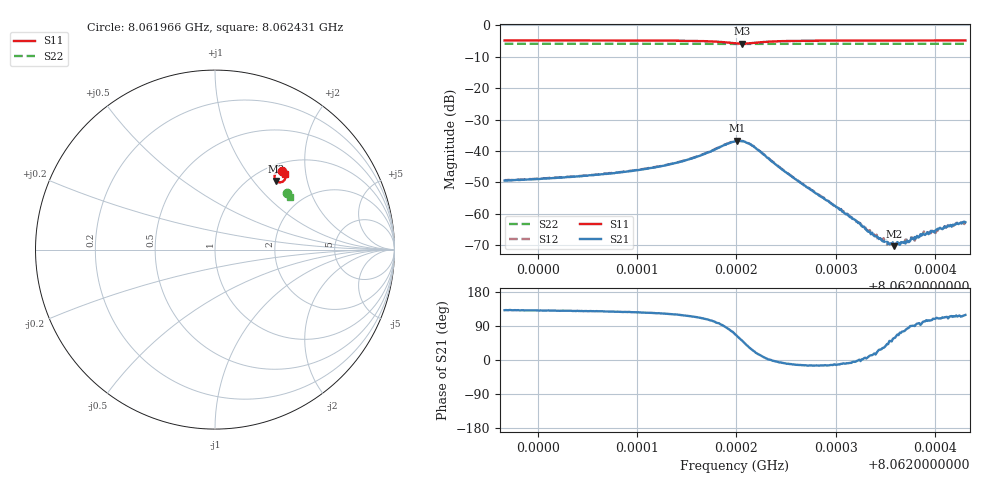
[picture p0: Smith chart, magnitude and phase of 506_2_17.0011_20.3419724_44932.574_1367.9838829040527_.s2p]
#  HZ  S  RI  R  50.00
! Rohde & Schwarz Vector Network Analyzer
! Rohde-Schwarz,ZNB20-2Port,1311601062101988,3.16
! Created: UTC 3/20/2024, 11:14:48 PM
! freq[Hz]  re:S11  im:S11  re:S21  im:S21  re:S12  im:S12  re:S22  im:S22
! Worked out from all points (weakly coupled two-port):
!   401 points, 8.061966 GHz to 8.062431 GHz, reference 50 ohm
!   highest |S21| = -36.71 dB at 8.0622008 GHz (marker M1); lowest = -70.3 dB at 8.0623589 GHz (marker M2)
!   lowest |S11| = -5.8 dB at 8.0622055 GHz (marker M3), VSWR 3.11, Z = 63.7 + j66.1 ohm
!   |S11| at or under -10 dB: nowhere
!   |S22| runs from -5.9 to -5.8 dB; largest |S21 - S12| = 0.001
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8.06196602e9  0.3745 0.4376  -0.00223 0.00254  -0.0021 0.00269  0.4024 0.3134
8.0620439e9  0.3809 0.4316  -0.00251 0.00306  -0.00233 0.00327  0.4054 0.3095
8.06208226e9  0.3843 0.4276  -0.00276 0.00363  -0.00255 0.00383  0.4068 0.3074
8.06212178e9  0.3886 0.4212  -0.00311 0.00469  -0.00285 0.00495  0.4081 0.3053
8.06215665e9  0.3923 0.4091  -0.00322 0.00705  -0.00283 0.00732  0.4094 0.3029
8.0621985e9  0.3599 0.3749  0.0053 0.0132  0.0061 0.013  0.4088 0.2998
8.06220083e9  0.3538 0.3759  0.00674 0.013  0.00733 0.0125  0.4086 0.2998
8.06220548e9  0.3425 0.3819  0.00887 0.0111  0.00964 0.0108  0.4085 0.3
8.0622171e9  0.3317 0.4089  0.0108 0.00486  0.0113 0.00416  0.4087 0.3009
8.06224965e9  0.3582 0.4354  0.00454 -0.000739  0.00455 -0.00103  0.4113 0.3001
8.06227638e9  0.3701 0.435  0.00228 -0.000599  0.00225 -0.000739  0.4128 0.2986
8.06231823e9  0.3791 0.4314  0.000822 -6.42e-05  0.000822 -0.000149  0.4145 0.2964
8.06233334e9  0.3812 0.4302  0.000508 8.04e-05  0.000528 5.19e-05  0.415 0.2955
8.06235427e9  0.3838 0.4287  0.000211 0.000253  0.000253 0.000205  0.4159 0.2944
8.06235892e9  0.3844 0.4282  0.000162 0.000257  0.000205 0.000252  0.416 0.2942
8.06236705e9  0.3851 0.4277  9.19e-05 0.00034  0.000114 0.000327  0.4163 0.2939
8.06237286e9  0.3857 0.4273  4.15e-05 0.000365  5.28e-05 0.000348  0.4165 0.2934
8.06238216e9  0.3865 0.4266  -4.64e-05 0.000441  1.01e-05 0.000425  0.4169 0.2929
8.0623903e9  0.3874 0.4262  -9.4e-05 0.00045  -0.000104 0.000464  0.4171 0.2926
8.06240309e9  0.3883 0.4252  -0.0002 0.000536  -0.000161 0.000514  0.4176 0.2919
8.06242285e9  0.39 0.424  -0.000295 0.000646  -0.000281 0.000657  0.4182 0.2908
8.06243099e9  0.3906 0.4235  -0.000354 0.000642  -0.000306 0.000675  0.4185 0.2904
